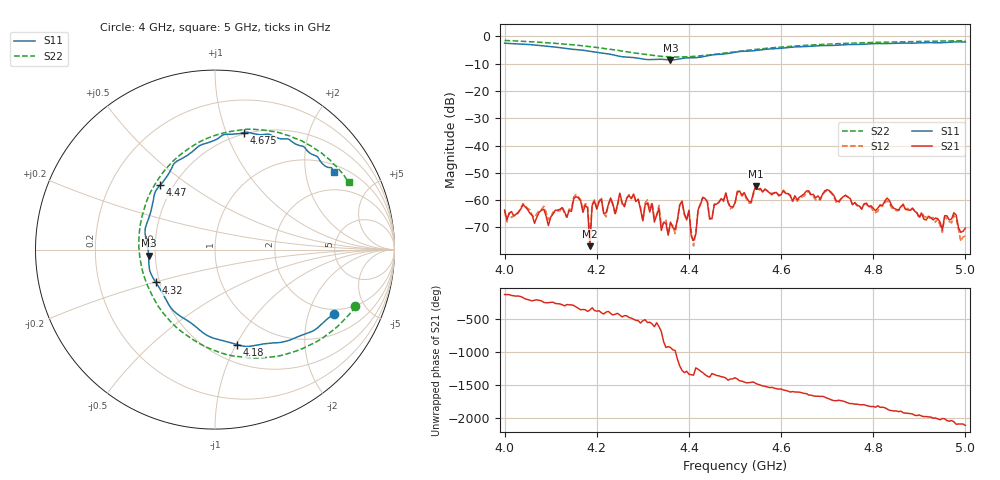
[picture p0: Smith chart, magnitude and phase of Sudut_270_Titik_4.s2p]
# Hz S RI R 50
! CMT, C1220, 16058040, 17.2.0/1
! Date: 15/08/2018 12:31:59
! Data: Format (Calibration Info)
! Freq  S11: Re/Im (F2)  S21: Re/Im (F2)  S12: Re/Im (F2)  S22: Re/Im (F2)
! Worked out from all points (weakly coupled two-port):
!   201 points, 4 GHz to 5 GHz, reference 50 ohm
!   highest |S21| = -54.88 dB at 4.545 GHz (marker M1); lowest = -76.9 dB at 4.185 GHz (marker M2)
!   lowest |S11| = -8.6 dB at 4.36 GHz (marker M3), VSWR 2.18, Z = 23 - j1.82 ohm
!   |S11| at or under -10 dB: nowhere
!   |S22| runs from -7.5 to -1.5 dB; largest |S21 - S12| = 0.00014
!   S11 on the Smith chart (normalised r, x): 4 GHz: 1.79, -2.95; 4.18 GHz: 0.67, -1.01; 4.32 GHz: 0.48, -0.20; 4.47 GHz: 0.42, +0.39; 4.675 GHz: 0.49, +1.15; 5 GHz: 1.24, +2.86
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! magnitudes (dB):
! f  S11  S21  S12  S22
! 4 GHz  -2.5  -63.6  -64.0  -1.5
! 4.17 GHz  -5.0  -64.5  -63.4  -3.4
! 4.18 GHz  -5.3  -62.8  -61.8  -3.6
! 4.185 GHz  -5.4  -76.9  -73.7  -3.7
! 4.195 GHz  -5.7  -60.4  -59.9  -3.9
! 4.28 GHz  -7.7  -57.7  -57.9  -6.0
! 4.3 GHz  -8.3  -67.5  -67.7  -6.5
! 4.32 GHz  -8.5  -61.3  -60.9  -6.9
! 4.335 GHz  -8.4  -62.9  -61.9  -7.2
! 4.34 GHz  -8.4  -71.1  -69.4  -7.3
! 4.36 GHz  -8.6  -68.0  -68.5  -7.5
! 4.385 GHz  -8.1  -60.3  -60.6  -7.5
! 4.41 GHz  -7.8  -74.8  -76.7  -7.3
! 4.43 GHz  -7.4  -59.1  -58.9  -7.0
! 4.445 GHz  -6.9  -67.0  -66.5  -6.8
! 4.47 GHz  -6.5  -59.4  -59.6  -6.3
! 4.5 GHz  -5.8  -61.0  -61.3  -5.6
! 4.545 GHz  -5.1  -54.9  -55.3  -4.8
! 4.67 GHz  -3.5  -57.9  -58.7  -3.1
! 4.675 GHz  -3.5  -59.2  -59.9  -3.0
! 4.835 GHz  -2.6  -60.1  -61.0  -2.1
! 5 GHz  -2.0  -70.2  -73.2  -1.6
